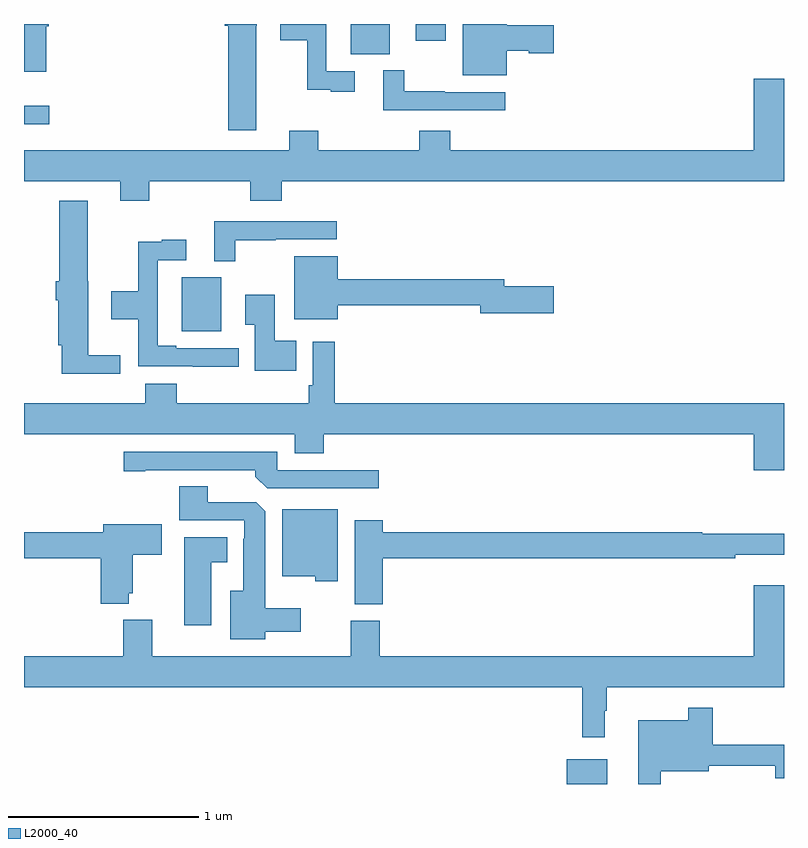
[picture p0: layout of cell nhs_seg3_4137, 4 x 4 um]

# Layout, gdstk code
import gdstk
lib = gdstk.Library(unit=1e-6, precision=1e-09)
def R(c, l, rs):  # rectangles x0, y0, x1, y1
    for r in rs: c.add(gdstk.rectangle(r[:2], r[2:], *l))
def P(c, l, *ps):  # polygons
    for p in ps: c.add(gdstk.Polygon(p, *l))
L2000_40 = (2000, 40)

nhs_seg3_4137 = lib.new_cell('nhs_seg3_4137')
R(nhs_seg3_4137, L2000_40, [(331.856,708.4,332.071,708.529), (329.831,710.783,330.037,711.067), (329,711.872,329.134,711.969), (330.719,712.241,330.925,712.4), (331.061,712.313,331.219,712.4)])
P(nhs_seg3_4137, L2000_40, [(330.742,712.152),(330.591,712.152),(330.591,712.4),(330.348,712.4),(330.348,712.315),(330.49,712.315),(330.49,712.055),(330.614,712.055),(330.614,712.044),(330.742,712.044)],
  [(331.54,712.259),(331.656,712.259),(331.656,712.247),(331.789,712.247),(331.789,712.394),(331.54,712.394),(331.54,712.4),(331.31,712.4),(331.31,712.13),(331.54,712.13)],
  [(329.116,712.388),(329.129,712.388),(329.129,712.4),(329,712.4),(329,712.148),(329.116,712.148)],
  [(330.223,712.392),(330.226,712.392),(330.226,712.4),(330.056,712.4),(330.056,712.392),(330.074,712.392),(330.074,711.84),(330.223,711.84)],
  [(331.534,712.041),(331.214,712.041),(331.214,712.046),(331,712.046),(331,712.156),(330.89,712.156),(330.89,711.945),(331.534,711.945)],
  [(329.66,711.572),(330.191,711.572),(330.191,711.47),(330.356,711.47),(330.356,711.572),(333,711.572),(333,712.111),(332.84,712.111),(332.84,711.736),(331.244,711.736),(331.244,711.838),(331.079,711.838),(331.079,711.736),(330.548,711.736),(330.548,711.838),(330.395,711.838),(330.395,711.736),(329,711.736),(329,711.572),(329.507,711.572),(329.507,711.47),(329.66,711.47)],
  [(329.506,710.657),(329.338,710.657),(329.338,711.045),(329.335,711.045),(329.335,711.469),(329.186,711.469),(329.186,711.045),(329.168,711.045),(329.168,710.945),(329.18,710.945),(329.18,710.709),(329.198,710.709),(329.198,710.558),(329.506,710.558)],
  [(330.112,711.262),(330.326,711.262),(330.326,711.267),(330.646,711.267),(330.646,711.363),(330.002,711.363),(330.002,711.152),(330.112,711.152)],
  [(330.13,710.694),(329.8,710.694),(329.8,710.707),(329.703,710.707),(329.703,711.156),(329.854,711.156),(329.854,711.265),(329.726,711.265),(329.726,711.254),(329.602,711.254),(329.602,710.994),(329.46,710.994),(329.46,710.846),(329.602,710.846),(329.602,710.598),(329.887,710.598),(329.887,710.597),(330.13,710.597)],
  [(330.652,710.92),(331.4,710.92),(331.4,710.878),(331.789,710.878),(331.789,711.02),(331.528,711.02),(331.528,711.056),(330.652,711.056),(330.652,711.178),(330.422,711.178),(330.422,710.846),(330.652,710.846)],
  [(330.434,710.734),(330.319,710.734),(330.319,710.974),(330.165,710.974),(330.165,710.818),(330.215,710.818),(330.215,710.576),(330.434,710.576)],
  [(333,710.404),(330.635,710.404),(330.635,710.728),(330.519,710.728),(330.519,710.5),(330.499,710.5),(330.499,710.404),(329.804,710.404),(329.804,710.506),(329.639,710.506),(329.639,710.404),(329,710.404),(329,710.24),(330.425,710.24),(330.425,710.141),(330.578,710.141),(330.578,710.24),(332.84,710.24),(332.84,710.052),(333,710.052)],
  [(330.868,710.052),(330.333,710.052),(330.333,710.148),(329.526,710.148),(329.526,710.047),(329.638,710.047),(329.638,710.052),(330.218,710.052),(330.218,710.018),(330.279,709.956),(330.868,709.956)],
  [(330.271,709.202),(330.457,709.202),(330.457,709.324),(330.271,709.324),(330.271,709.835),(330.222,709.884),(329.968,709.884),(329.968,709.967),(329.816,709.967),(329.816,709.788),(330.159,709.788),(330.159,709.691),(330.155,709.691),(330.155,709.417),(330.086,709.417),(330.086,709.163),(330.271,709.163)],
  [(330.652,709.846),(330.359,709.846),(330.359,709.493),(330.534,709.493),(330.534,709.466),(330.652,709.466)],
  [(330.887,709.588),(332.744,709.588),(332.744,709.607),(333,709.607),(333,709.717),(332.57,709.717),(332.57,709.724),(330.887,709.724),(330.887,709.789),(330.74,709.789),(330.74,709.345),(330.887,709.345)],
  [(329.55,709.403),(329.572,709.403),(329.572,709.606),(329.725,709.606),(329.725,709.768),(329.417,709.768),(329.417,709.724),(329,709.724),(329,709.588),(329.405,709.588),(329.405,709.349),(329.55,709.349)],
  [(329.986,709.568),(330.07,709.568),(330.07,709.699),(329.843,709.699),(329.843,709.236),(329.986,709.236)],
  [(332.056,708.785),(332.068,708.785),(332.068,708.908),(333,708.908),(333,709.447),(332.84,709.447),(332.84,709.072),(330.872,709.072),(330.872,709.26),(330.719,709.26),(330.719,709.072),(329.674,709.072),(329.674,709.264),(329.522,709.264),(329.522,709.072),(329,709.072),(329,708.908),(331.939,708.908),(331.939,708.645),(332.056,708.645)],
  [(332.351,708.467),(332.605,708.467),(332.605,708.496),(332.954,708.496),(332.954,708.431),(333,708.431),(333,708.607),(332.624,708.607),(332.624,708.802),(332.496,708.802),(332.496,708.736),(332.234,708.736),(332.234,708.4),(332.351,708.4)])

lib.write_gds('nhs_seg3_4137.gds')
